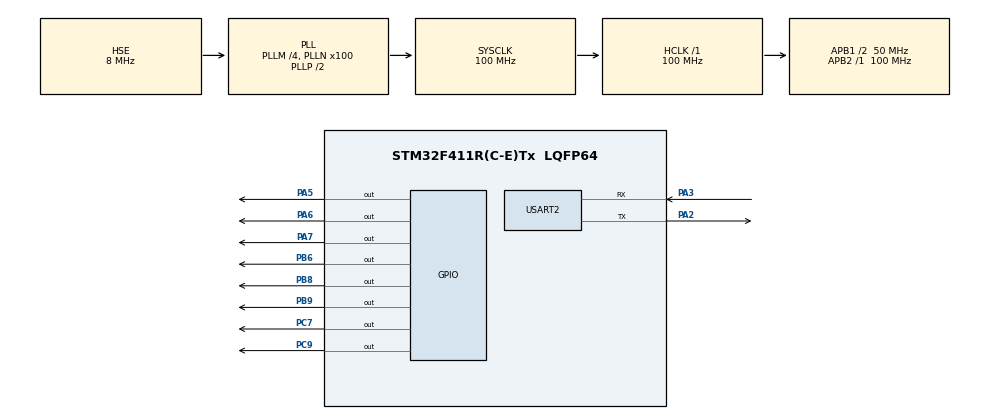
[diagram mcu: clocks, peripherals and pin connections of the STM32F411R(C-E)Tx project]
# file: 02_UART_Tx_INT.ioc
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Mcu.Family=STM32F4
Mcu.Name=STM32F411R(C-E)Tx
Mcu.Package=LQFP64
NVIC.PriorityGroup=NVIC_PRIORITYGROUP_4
NVIC.USART2_IRQn=true\:0\:0\:false\:false\:true\:true\:true\:true
PA13.Mode=Serial_Wire
PA13.Signal=SYS_JTMS-SWDIO
PA14.Mode=Serial_Wire
PA14.Signal=SYS_JTCK-SWCLK
PA2.Mode=Asynchronous
PA2.Signal=USART2_TX
PA3.Mode=Asynchronous
PA3.Signal=USART2_RX
PA5.Signal=GPIO_Output
PA6.Signal=GPIO_Output
PA7.Signal=GPIO_Output
PB6.Signal=GPIO_Output
PB8.Signal=GPIO_Output
PB9.Signal=GPIO_Output
PC7.Signal=GPIO_Output
PC9.Signal=GPIO_Output
PH0\ -\ OSC_IN.Mode=HSE-External-Oscillator
PH0\ -\ OSC_IN.Signal=RCC_OSC_IN
PH1\ -\ OSC_OUT.Mode=HSE-External-Oscillator
PH1\ -\ OSC_OUT.Signal=RCC_OSC_OUT
ProjectManager.HeapSize=0x200
ProjectManager.StackSize=0x400
ProjectManager.TargetToolchain=STM32CubeIDE
RCC.48MHZClocksFreq_Value=50000000
RCC.AHBFreq_Value=100000000
RCC.APB1CLKDivider=RCC_HCLK_DIV2
RCC.APB1Freq_Value=50000000
RCC.APB1TimFreq_Value=100000000
RCC.APB2Freq_Value=100000000
RCC.APB2TimFreq_Value=100000000
RCC.CortexFreq_Value=100000000
RCC.HCLKFreq_Value=100000000
RCC.HSE_VALUE=8000000
RCC.HSI_VALUE=16000000
RCC.LSE_VALUE=32768
RCC.PLLM=4
RCC.PLLN=100
RCC.PLLSourceVirtual=RCC_PLLSOURCE_HSE
RCC.SYSCLKFreq_VALUE=100000000
RCC.SYSCLKSource=RCC_SYSCLKSOURCE_PLLCLK
RCC.VCOOutputFreq_Value=200000000
USART2.VirtualMode=VM_ASYNC
board=custom

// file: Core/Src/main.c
/* USER CODE BEGIN Header */
/**
  ******************************************************************************
  * @file           : main.c
  * @brief          : Main program body
  ******************************************************************************
  * @attention
  *
  * Copyright (c) 2025 STMicroelectronics.
  * All rights reserved.
  *
  * This software is licensed under terms that can be found in the LICENSE file
  * in the root directory of this software component.
  * If no LICENSE file comes with this software, it is provided AS-IS.
  *
  ******************************************************************************
  */
/* USER CODE END Header */
#include "main.h"
#include "usart.h"
#include "gpio.h"

/* USER CODE BEGIN Includes */
#include "led.h"
/* USER CODE END Includes */

/* USER CODE BEGIN PV */
uint8_t rxData;			// 전역 변수, 배열 아님
uint8_t rxFlag;
/* USER CODE END PV */

void SystemClock_Config(void);
/* USER CODE BEGIN PFP */
void HAL_UART_RxCpltCallback(UART_HandleTypeDef *huart) {
	if (huart->Instance == USART2) {
		// Interrupt 방식 수신하고 Polling 송신하는 방식 많이 사용
		HAL_UART_Receive_IT(&huart2, &rxData, sizeof(rxData));
//		HAL_UART_Transmit_IT(&huart2, txData, sizeof(txData));
//		HAL_UART_Transmit(&huart2, txData, sizeof(txData), 200);
	}

	uint8_t txData_LOn[] = "LED On\n";
	uint8_t txData_LOff[] = "LED Off\n";
	uint8_t txData_LLeft[] = "LED Left Shift\n";
	uint8_t txData_LRight[] = "LED Right Shift\n";
	uint8_t txData_LFlower[] = "LED Flower\n";

	if (rxData == 'a') {
		rxFlag = 1;
		HAL_UART_Transmit(&huart2, txData_LOn, sizeof(txData_LOn), 200);
//		HAL_UART_Transmit_IT(&huart2, txData_LOn, sizeof(txData_LOn));
	}
	else if (rxData == 'b') {
		rxFlag = 2;
		HAL_UART_Transmit(&huart2, txData_LOff, sizeof(txData_LOff), 200);
//		HAL_UART_Transmit_IT(&huart2, txData_LOff, sizeof(txData_LOff));
	}
	else if (rxData == 'c') {
		rxFlag = 3;
		HAL_UART_Transmit(&huart2, txData_LLeft, sizeof(txData_LLeft), 200);
//		HAL_UART_Transmit_IT(&huart2, txData_LLeft, sizeof(txData_LLeft));
	}
	else if (rxData == 'd') {
		rxFlag = 4;
		HAL_UART_Transmit(&huart2, txData_LRight, sizeof(txData_LRight), 200);
//		HAL_UART_Transmit_IT(&huart2, txData_LRight, sizeof(txData_LRight));
	}
	else if (rxData == 'e') {
		rxFlag = 5;
		HAL_UART_Transmit(&huart2, txData_LFlower, sizeof(txData_LFlower), 200);
//		HAL_UART_Transmit_IT(&huart2, txData_LFlower, sizeof(txData_LFlower));
	}
}
/* USER CODE END PFP */

int main(void)
{

  /* MCU Configuration--------------------------------------------------------*/

  /* Reset of all peripherals, Initializes the Flash interface and the Systick. */
  HAL_Init();

  /* Configure the system clock */
  SystemClock_Config();

  /* Initialize all configured peripherals */
  MX_GPIO_Init();
  MX_USART2_UART_Init();
  /* USER CODE BEGIN 2 */
  HAL_UART_Receive_IT(&huart2, &rxData, sizeof(rxData));
  /* USER CODE END 2 */

  /* Infinite loop */
  /* USER CODE BEGIN WHILE */
  while (1)
  {
	  switch (rxFlag) {
		case 1:
			ledOn(8);
			break;
		case 2:
			ledOff(8);
			break;
		case 3:
			ledLeftShift(8);
			break;
		case 4:
			ledRightShift(8);
			break;
		case 5:
			ledFlower(8);
			break;
	  }
	  HAL_Delay(200);
    /* USER CODE END WHILE */

  }
}

void SystemClock_Config(void)
{
  RCC_OscInitTypeDef RCC_OscInitStruct = {0};
  RCC_ClkInitTypeDef RCC_ClkInitStruct = {0};

  /** Configure the main internal regulator output voltage
  */
  __HAL_RCC_PWR_CLK_ENABLE();
  __HAL_PWR_VOLTAGESCALING_CONFIG(PWR_REGULATOR_VOLTAGE_SCALE1);

  /** Initializes the RCC Oscillators according to the specified parameters
  * in the RCC_OscInitTypeDef structure.
  */
  RCC_OscInitStruct.OscillatorType = RCC_OSCILLATORTYPE_HSE;
  RCC_OscInitStruct.HSEState = RCC_HSE_ON;
  RCC_OscInitStruct.PLL.PLLState = RCC_PLL_ON;
  RCC_OscInitStruct.PLL.PLLSource = RCC_PLLSOURCE_HSE;
  RCC_OscInitStruct.PLL.PLLM = 4;
  RCC_OscInitStruct.PLL.PLLN = 100;
  RCC_OscInitStruct.PLL.PLLP = RCC_PLLP_DIV2;
  RCC_OscInitStruct.PLL.PLLQ = 4;
  if (HAL_RCC_OscConfig(&RCC_OscInitStruct) != HAL_OK)
  {
    Error_Handler();
  }

  /** Initializes the CPU, AHB and APB buses clocks
  */
  RCC_ClkInitStruct.ClockType = RCC_CLOCKTYPE_HCLK|RCC_CLOCKTYPE_SYSCLK
                              |RCC_CLOCKTYPE_PCLK1|RCC_CLOCKTYPE_PCLK2;
  RCC_ClkInitStruct.SYSCLKSource = RCC_SYSCLKSOURCE_PLLCLK;
  RCC_ClkInitStruct.AHBCLKDivider = RCC_SYSCLK_DIV1;
  RCC_ClkInitStruct.APB1CLKDivider = RCC_HCLK_DIV2;
  RCC_ClkInitStruct.APB2CLKDivider = RCC_HCLK_DIV1;

  if (HAL_RCC_ClockConfig(&RCC_ClkInitStruct, FLASH_LATENCY_3) != HAL_OK)
  {
    Error_Handler();
  }
}

void Error_Handler(void)
{
  __disable_irq();
  while (1)
  {
  }
}
